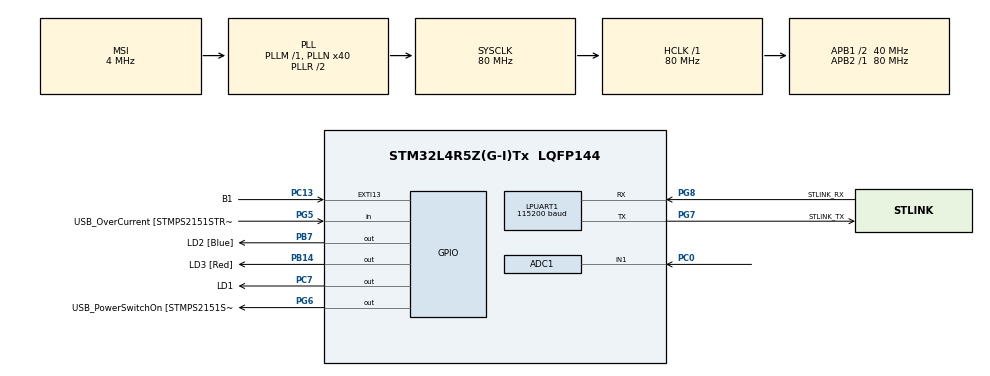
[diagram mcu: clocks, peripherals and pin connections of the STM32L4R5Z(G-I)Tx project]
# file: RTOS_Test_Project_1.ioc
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ADC1.Channel-0\#ChannelRegularConversion=ADC_CHANNEL_1
ADC1.ClockPrescaler=ADC_CLOCK_ASYNC_DIV10
ADC1.ContinuousConvMode=ENABLE
ADC1.NbrOfConversionFlag=1
ADC1.OffsetNumber-0\#ChannelRegularConversion=ADC_OFFSET_NONE
ADC1.Rank-0\#ChannelRegularConversion=1
ADC1.SamplingTime-0\#ChannelRegularConversion=ADC_SAMPLETIME_2CYCLES_5
ADC1.master=1
LPUART1.BaudRate=115200
LPUART1.WordLength=UART_WORDLENGTH_8B
Mcu.Family=STM32L4
Mcu.Name=STM32L4R5Z(G-I)Tx
Mcu.Package=LQFP144
NVIC.ADC1_IRQn=true\:6\:0\:true\:false\:true\:true\:true\:true
NVIC.EXTI15_10_IRQn=true\:5\:0\:true\:false\:true\:true\:true\:true
NVIC.PriorityGroup=NVIC_PRIORITYGROUP_4
NVIC.TIM1_UP_TIM16_IRQn=true\:15\:0\:false\:false\:true\:false\:true\:true
NVIC.TimeBase=TIM1_UP_TIM16_IRQn
NVIC.TimeBaseIP=TIM1
PA10.GPIO_Label=USB_ID
PA10.Signal=USB_OTG_FS_ID
PA11.GPIO_Label=USB_DM
PA11.Signal=USB_OTG_FS_DM
PA12.GPIO_Label=USB_DP
PA12.Signal=USB_OTG_FS_DP
PA13\ (JTMS/SWDIO).GPIO_Label=TMS
PA13\ (JTMS/SWDIO).Mode=Serial_Wire
PA13\ (JTMS/SWDIO).Signal=SYS_JTMS-SWDIO
PA14\ (JTCK/SWCLK).GPIO_Label=TCK
PA14\ (JTCK/SWCLK).Mode=Serial_Wire
PA14\ (JTCK/SWCLK).Signal=SYS_JTCK-SWCLK
PA8.GPIO_Label=USB_SOF [TP1]
PA8.Signal=USB_OTG_FS_SOF
PA9.GPIO_Label=USB_VBUS
PA9.Signal=USB_OTG_FS_VBUS
PB14.GPIO_Label=LD3 [Red]
PB14.Signal=GPIO_Output
PB3\ (JTDO/TRACESWO).GPIO_Label=SWO
PB3\ (JTDO/TRACESWO).Signal=SYS_JTDO-SWO
PB7.GPIO_Label=LD2 [Blue]
PB7.Signal=GPIO_Output
PB8.Signal=I2C1_SCL
PB9.Signal=I2C1_SDA
PC0.Signal=ADCx_IN1
PC13.GPIO_Label=B1
PC13.Signal=GPXTI13
PC14-OSC32_IN\ (PC14).Mode=LSE-External-Oscillator
PC14-OSC32_IN\ (PC14).Signal=RCC_OSC32_IN
PC15-OSC32_OUT\ (PC15).Mode=LSE-External-Oscillator
PC15-OSC32_OUT\ (PC15).Signal=RCC_OSC32_OUT
PC7.GPIO_Label=LD1
PC7.Signal=GPIO_Output
PD8.GPIO_Label=STLK_RX [STM32F103CBT6_PA3]
PD8.Signal=USART3_TX
PD9.GPIO_Label=STLK_TX [STM32F103CBT6_PA2]
PD9.Signal=USART3_RX
PG5.GPIO_Label=USB_OverCurrent [STMPS2151STR_FAULT]
PG5.Signal=GPIO_Input
PG6.GPIO_Label=USB_PowerSwitchOn [STMPS2151STR_En]
PG6.Signal=GPIO_Output
PG7.GPIO_Label=STLINK_TX
PG7.Mode=Asynchronous
PG7.Signal=LPUART1_TX
PG8.GPIO_Label=STLINK_RX
PG8.Mode=Asynchronous
PG8.Signal=LPUART1_RX
PH0-OSC_IN\ (PH0).Mode=HSE-External-Clock-Source
PH0-OSC_IN\ (PH0).Signal=RCC_OSC_IN
PH1-OSC_OUT\ (PH1).Signal=RCC_OSC_OUT
ProjectManager.HeapSize=0x200
ProjectManager.StackSize=0x400
ProjectManager.TargetToolchain=STM32CubeIDE
RCC.48MHZClocksFreq_Value=24000000
RCC.ADCFreq_Value=32000000
RCC.AHBFreq_Value=80000000
RCC.APB1CLKDivider=RCC_HCLK_DIV2
RCC.APB1Freq_Value=40000000
RCC.APB1TimFreq_Value=80000000
RCC.APB2Freq_Value=80000000
RCC.APB2TimFreq_Value=80000000
RCC.CortexFreq_Value=80000000
RCC.HCLKFreq_Value=80000000
RCC.HSE_VALUE=8000000
RCC.HSI48_VALUE=48000000
RCC.HSI_VALUE=16000000
RCC.MSI_VALUE=4000000
RCC.PLLMUL=RCC_PLL_MUL9
RCC.PLLN=40
RCC.PLLSAI1N=16
RCC.PRESCALERUSB=RCC_USBCLKSOURCE_PLL_DIV1_5
RCC.SYSCLKFreq_VALUE=80000000
RCC.SYSCLKSource=RCC_SYSCLKSOURCE_PLLCLK
RCC.SYSCLKSourceVirtual=RCC_SYSCLKSOURCE_PLLCLK
RCC.USBFreq_Value=32000000
RCC.VCOOutputFreq_Value=160000000
SH.ADCx_IN1.0=ADC1_IN1,IN1-Single-Ended
VP_SYS_VS_tim1.Mode=TIM1
board=NUCLEO-L4R5ZI

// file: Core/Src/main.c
/* USER CODE BEGIN Header */
/**
  ******************************************************************************
  * @file           : main.c
  * @brief          : Main program body
  ******************************************************************************
  * @attention
  *
  * Copyright (c) 2024 STMicroelectronics.
  * All rights reserved.
  *
  * This software is licensed under terms that can be found in the LICENSE file
  * in the root directory of this software component.
  * If no LICENSE file comes with this software, it is provided AS-IS.
  *
  *
  * this project has use case of queue, semaphores, ADC and UART.
  * sample project for learning
  *
  ******************************************************************************
  */
/* USER CODE END Header */
#include "main.h"

/* USER CODE BEGIN Includes */
#include "stdbool.h"
#include "stdio.h"
#include "FreeRTOS.h"
#include "task.h"
#include "semphr.h"
#include "queue.h"
#include "timers.h"
/* USER CODE END Includes */

ADC_HandleTypeDef hadc1;

UART_HandleTypeDef hlpuart1;

/* USER CODE BEGIN PV */
uint32_t data;
bool flag = 0;
SemaphoreHandle_t adc_sema, b1_sem;

QueueHandle_t adc_queue;
/* USER CODE END PV */

void SystemClock_Config(void);
static void MX_GPIO_Init(void);
static void MX_ADC1_Init(void);
static void MX_LPUART1_UART_Init(void);

/* USER CODE BEGIN 0 */

/* ---- callback function for ADC conversion complete */

void HAL_ADC_ConvCpltCallback(ADC_HandleTypeDef *hadc)
{
	BaseType_t xHigherPriortyTaskWoken = pdFALSE;
	xSemaphoreGiveFromISR(adc_sema, &xHigherPriortyTaskWoken);
	portEND_SWITCHING_ISR(xHigherPriortyTaskWoken);

}

/* ---- callback function for button press detection ----*/

void HAL_GPIO_EXTI_Callback(uint16_t GPIO_Pin)
{
	BaseType_t xHigherPriortyTaskWoken = pdFALSE;
	if(GPIO_Pin == B1_Pin)
	{
		xSemaphoreGiveFromISR(b1_sem,&xHigherPriortyTaskWoken);
		portEND_SWITCHING_ISR(xHigherPriortyTaskWoken);
	}
}

/* ----- ADC Task ------ */
void ADC_task(void *params)
{
	uint32_t voltage = 0;
	HAL_ADC_Start_IT(&hadc1);
	while(1)
	{
		xSemaphoreTake(adc_sema,0);
		data = HAL_ADC_GetValue(&hadc1);
		voltage = (data * 3300) / 4095;
		xQueueSend(adc_queue,&voltage,1000);
		vTaskDelay(pdMS_TO_TICKS(2000));
	}
}

/* ------  Display value in UART terminal ----------- */
void Display_task(void *params)
{
	uint32_t value;
	char str[30];
	while(1)
	{
		if(xQueueReceive(adc_queue, &value, portMAX_DELAY) == pdTRUE)
		{
			int len = sprintf(str,"ADC count = %ld Voltage = %ld.%ld\n\r",((value*4095)/3300),value/1000,value % 1000);
			HAL_UART_Transmit(&hlpuart1, (uint8_t*)str, len, 100);
			HAL_GPIO_TogglePin(LD2_GPIO_Port, LD2_Pin);
			vTaskDelay(pdMS_TO_TICKS(1000));
		}
	}
}

/* ----------- LED blink task ----------- */
void LED_task(void *params)
{
	while(1)
	{
		HAL_GPIO_TogglePin(LD3_GPIO_Port, LD3_Pin);
		vTaskDelay(500);
	}
}

/* ----- Button press with debounce ------ */
void Button_task(void *params)
{
	while(1)
	{
		xSemaphoreTake(b1_sem,portMAX_DELAY);
		vTaskDelay(pdMS_TO_TICKS(20));
		if(HAL_GPIO_ReadPin(B1_GPIO_Port, B1_Pin) == GPIO_PIN_SET)
			HAL_GPIO_TogglePin(LD1_GPIO_Port, LD1_Pin);
	}
}
/* USER CODE END 0 */

int main(void)
{

  /* MCU Configuration--------------------------------------------------------*/

  /* Reset of all peripherals, Initializes the Flash interface and the Systick. */
  HAL_Init();

  /* Configure the system clock */
  SystemClock_Config();

  /* Initialize all configured peripherals */
  MX_GPIO_Init();
  MX_ADC1_Init();
  MX_LPUART1_UART_Init();
  /* USER CODE BEGIN 2 */
  adc_queue = xQueueCreate(2,sizeof(uint32_t));
  adc_sema = xSemaphoreCreateBinary();
  b1_sem = xSemaphoreCreateBinary();
  if(adc_sema != NULL && adc_queue != NULL && b1_sem != NULL)
  {
	  xTaskCreate(ADC_task, "ADC", configMINIMAL_STACK_SIZE, NULL, 2, NULL);
	  xTaskCreate(LED_task, "LED", configMINIMAL_STACK_SIZE, NULL, 1, NULL);
	  xTaskCreate(Display_task, "DISP", configMINIMAL_STACK_SIZE, NULL, 3, NULL);
	  xTaskCreate(Button_task, "button", configMINIMAL_STACK_SIZE, NULL, 1, NULL);

	  vTaskStartScheduler();
  }
  /* USER CODE END 2 */

  /* Infinite loop */
  while (1)
  {

  }
}

void SystemClock_Config(void)
{
  RCC_OscInitTypeDef RCC_OscInitStruct = {0};
  RCC_ClkInitTypeDef RCC_ClkInitStruct = {0};

  /** Configure the main internal regulator output voltage
  */
  if (HAL_PWREx_ControlVoltageScaling(PWR_REGULATOR_VOLTAGE_SCALE1) != HAL_OK)
  {
    Error_Handler();
  }

  /** Initializes the RCC Oscillators according to the specified parameters
  * in the RCC_OscInitTypeDef structure.
  */
  RCC_OscInitStruct.OscillatorType = RCC_OSCILLATORTYPE_MSI;
  RCC_OscInitStruct.MSIState = RCC_MSI_ON;
  RCC_OscInitStruct.MSICalibrationValue = 0;
  RCC_OscInitStruct.MSIClockRange = RCC_MSIRANGE_6;
  RCC_OscInitStruct.PLL.PLLState = RCC_PLL_ON;
  RCC_OscInitStruct.PLL.PLLSource = RCC_PLLSOURCE_MSI;
  RCC_OscInitStruct.PLL.PLLM = 1;
  RCC_OscInitStruct.PLL.PLLN = 40;
  RCC_OscInitStruct.PLL.PLLP = RCC_PLLP_DIV2;
  RCC_OscInitStruct.PLL.PLLQ = RCC_PLLQ_DIV2;
  RCC_OscInitStruct.PLL.PLLR = RCC_PLLR_DIV2;
  if (HAL_RCC_OscConfig(&RCC_OscInitStruct) != HAL_OK)
  {
    Error_Handler();
  }

  /** Initializes the CPU, AHB and APB buses clocks
  */
  RCC_ClkInitStruct.ClockType = RCC_CLOCKTYPE_HCLK|RCC_CLOCKTYPE_SYSCLK
                              |RCC_CLOCKTYPE_PCLK1|RCC_CLOCKTYPE_PCLK2;
  RCC_ClkInitStruct.SYSCLKSource = RCC_SYSCLKSOURCE_PLLCLK;
  RCC_ClkInitStruct.AHBCLKDivider = RCC_SYSCLK_DIV1;
  RCC_ClkInitStruct.APB1CLKDivider = RCC_HCLK_DIV2;
  RCC_ClkInitStruct.APB2CLKDivider = RCC_HCLK_DIV1;

  if (HAL_RCC_ClockConfig(&RCC_ClkInitStruct, FLASH_LATENCY_3) != HAL_OK)
  {
    Error_Handler();
  }
}

static void MX_ADC1_Init(void)
{

  ADC_ChannelConfTypeDef sConfig = {0};

  /** Common config
  */
  hadc1.Instance = ADC1;
  hadc1.Init.ClockPrescaler = ADC_CLOCK_ASYNC_DIV10;
  hadc1.Init.Resolution = ADC_RESOLUTION_12B;
  hadc1.Init.DataAlign = ADC_DATAALIGN_RIGHT;
  hadc1.Init.ScanConvMode = ADC_SCAN_DISABLE;
  hadc1.Init.EOCSelection = ADC_EOC_SINGLE_CONV;
  hadc1.Init.LowPowerAutoWait = DISABLE;
  hadc1.Init.ContinuousConvMode = ENABLE;
  hadc1.Init.NbrOfConversion = 1;
  hadc1.Init.DiscontinuousConvMode = DISABLE;
  hadc1.Init.ExternalTrigConv = ADC_SOFTWARE_START;
  hadc1.Init.ExternalTrigConvEdge = ADC_EXTERNALTRIGCONVEDGE_NONE;
  hadc1.Init.DMAContinuousRequests = DISABLE;
  hadc1.Init.Overrun = ADC_OVR_DATA_PRESERVED;
  hadc1.Init.OversamplingMode = DISABLE;
  if (HAL_ADC_Init(&hadc1) != HAL_OK)
  {
    Error_Handler();
  }

  /** Configure Regular Channel
  */
  sConfig.Channel = ADC_CHANNEL_1;
  sConfig.Rank = ADC_REGULAR_RANK_1;
  sConfig.SamplingTime = ADC_SAMPLETIME_2CYCLES_5;
  sConfig.SingleDiff = ADC_SINGLE_ENDED;
  sConfig.OffsetNumber = ADC_OFFSET_NONE;
  sConfig.Offset = 0;
  if (HAL_ADC_ConfigChannel(&hadc1, &sConfig) != HAL_OK)
  {
    Error_Handler();
  }

}

static void MX_LPUART1_UART_Init(void)
{

  hlpuart1.Instance = LPUART1;
  hlpuart1.Init.BaudRate = 115200;
  hlpuart1.Init.WordLength = UART_WORDLENGTH_8B;
  hlpuart1.Init.StopBits = UART_STOPBITS_1;
  hlpuart1.Init.Parity = UART_PARITY_NONE;
  hlpuart1.Init.Mode = UART_MODE_TX_RX;
  hlpuart1.Init.HwFlowCtl = UART_HWCONTROL_NONE;
  hlpuart1.Init.OneBitSampling = UART_ONE_BIT_SAMPLE_DISABLE;
  hlpuart1.Init.ClockPrescaler = UART_PRESCALER_DIV1;
  hlpuart1.AdvancedInit.AdvFeatureInit = UART_ADVFEATURE_NO_INIT;
  hlpuart1.FifoMode = UART_FIFOMODE_DISABLE;
  if (HAL_UART_Init(&hlpuart1) != HAL_OK)
  {
    Error_Handler();
  }
  if (HAL_UARTEx_SetTxFifoThreshold(&hlpuart1, UART_TXFIFO_THRESHOLD_1_8) != HAL_OK)
  {
    Error_Handler();
  }
  if (HAL_UARTEx_SetRxFifoThreshold(&hlpuart1, UART_RXFIFO_THRESHOLD_1_8) != HAL_OK)
  {
    Error_Handler();
  }
  if (HAL_UARTEx_DisableFifoMode(&hlpuart1) != HAL_OK)
  {
    Error_Handler();
  }

}

static void MX_GPIO_Init(void)
{
  GPIO_InitTypeDef GPIO_InitStruct = {0};

  /* GPIO Ports Clock Enable */
  __HAL_RCC_GPIOC_CLK_ENABLE();
  __HAL_RCC_GPIOH_CLK_ENABLE();
  __HAL_RCC_GPIOB_CLK_ENABLE();
  __HAL_RCC_GPIOD_CLK_ENABLE();
  __HAL_RCC_GPIOG_CLK_ENABLE();
  HAL_PWREx_EnableVddIO2();
  __HAL_RCC_GPIOA_CLK_ENABLE();

  /*Configure GPIO pin Output Level */
  HAL_GPIO_WritePin(GPIOB, LD3_Pin|LD2_Pin, GPIO_PIN_RESET);

  /*Configure GPIO pin Output Level */
  HAL_GPIO_WritePin(USB_PowerSwitchOn_GPIO_Port, USB_PowerSwitchOn_Pin, GPIO_PIN_RESET);

  /*Configure GPIO pin Output Level */
  HAL_GPIO_WritePin(LD1_GPIO_Port, LD1_Pin, GPIO_PIN_RESET);

  /*Configure GPIO pin : B1_Pin */
  GPIO_InitStruct.Pin = B1_Pin;
  GPIO_InitStruct.Mode = GPIO_MODE_IT_RISING;
  GPIO_InitStruct.Pull = GPIO_NOPULL;
  HAL_GPIO_Init(B1_GPIO_Port, &GPIO_InitStruct);

  /*Configure GPIO pins : LD3_Pin LD2_Pin */
  GPIO_InitStruct.Pin = LD3_Pin|LD2_Pin;
  GPIO_InitStruct.Mode = GPIO_MODE_OUTPUT_PP;
  GPIO_InitStruct.Pull = GPIO_NOPULL;
  GPIO_InitStruct.Speed = GPIO_SPEED_FREQ_LOW;
  HAL_GPIO_Init(GPIOB, &GPIO_InitStruct);

  /*Configure GPIO pins : STLK_RX_Pin STLK_TX_Pin */
  GPIO_InitStruct.Pin = STLK_RX_Pin|STLK_TX_Pin;
  GPIO_InitStruct.Mode = GPIO_MODE_AF_PP;
  GPIO_InitStruct.Pull = GPIO_NOPULL;
  GPIO_InitStruct.Speed = GPIO_SPEED_FREQ_VERY_HIGH;
  GPIO_InitStruct.Alternate = GPIO_AF7_USART3;
  HAL_GPIO_Init(GPIOD, &GPIO_InitStruct);

  /*Configure GPIO pin : USB_OverCurrent_Pin */
  GPIO_InitStruct.Pin = USB_OverCurrent_Pin;
  GPIO_InitStruct.Mode = GPIO_MODE_INPUT;
  GPIO_InitStruct.Pull = GPIO_NOPULL;
  HAL_GPIO_Init(USB_OverCurrent_GPIO_Port, &GPIO_InitStruct);

  /*Configure GPIO pin : USB_PowerSwitchOn_Pin */
  GPIO_InitStruct.Pin = USB_PowerSwitchOn_Pin;
  GPIO_InitStruct.Mode = GPIO_MODE_OUTPUT_PP;
  GPIO_InitStruct.Pull = GPIO_NOPULL;
  GPIO_InitStruct.Speed = GPIO_SPEED_FREQ_LOW;
  HAL_GPIO_Init(USB_PowerSwitchOn_GPIO_Port, &GPIO_InitStruct);

  /*Configure GPIO pin : LD1_Pin */
  GPIO_InitStruct.Pin = LD1_Pin;
  GPIO_InitStruct.Mode = GPIO_MODE_OUTPUT_PP;
  GPIO_InitStruct.Pull = GPIO_NOPULL;
  GPIO_InitStruct.Speed = GPIO_SPEED_FREQ_LOW;
  HAL_GPIO_Init(LD1_GPIO_Port, &GPIO_InitStruct);

  /*Configure GPIO pins : USB_SOF_Pin USB_ID_Pin USB_DM_Pin USB_DP_Pin */
  GPIO_InitStruct.Pin = USB_SOF_Pin|USB_ID_Pin|USB_DM_Pin|USB_DP_Pin;
  GPIO_InitStruct.Mode = GPIO_MODE_AF_PP;
  GPIO_InitStruct.Pull = GPIO_NOPULL;
  GPIO_InitStruct.Speed = GPIO_SPEED_FREQ_VERY_HIGH;
  GPIO_InitStruct.Alternate = GPIO_AF10_OTG_FS;
  HAL_GPIO_Init(GPIOA, &GPIO_InitStruct);

  /*Configure GPIO pin : USB_VBUS_Pin */
  GPIO_InitStruct.Pin = USB_VBUS_Pin;
  GPIO_InitStruct.Mode = GPIO_MODE_INPUT;
  GPIO_InitStruct.Pull = GPIO_NOPULL;
  HAL_GPIO_Init(USB_VBUS_GPIO_Port, &GPIO_InitStruct);

  /*Configure GPIO pins : PB8 PB9 */
  GPIO_InitStruct.Pin = GPIO_PIN_8|GPIO_PIN_9;
  GPIO_InitStruct.Mode = GPIO_MODE_AF_OD;
  GPIO_InitStruct.Pull = GPIO_NOPULL;
  GPIO_InitStruct.Speed = GPIO_SPEED_FREQ_VERY_HIGH;
  GPIO_InitStruct.Alternate = GPIO_AF4_I2C1;
  HAL_GPIO_Init(GPIOB, &GPIO_InitStruct);

  /* EXTI interrupt init*/
  HAL_NVIC_SetPriority(EXTI15_10_IRQn, 5, 0);
  HAL_NVIC_EnableIRQ(EXTI15_10_IRQn);

}

void HAL_TIM_PeriodElapsedCallback(TIM_HandleTypeDef *htim)
{
  if (htim->Instance == TIM1) {
    HAL_IncTick();
  }
}

void Error_Handler(void)
{
  __disable_irq();
  while (1)
  {
  }
}
